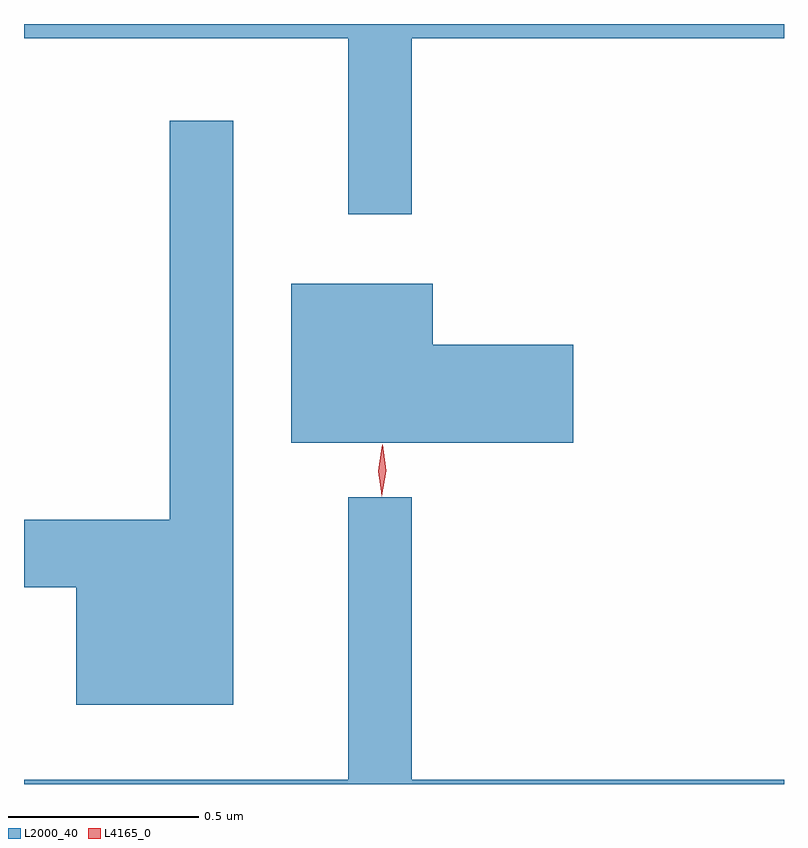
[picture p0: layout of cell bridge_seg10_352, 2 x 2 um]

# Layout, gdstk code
import gdstk
lib = gdstk.Library(unit=1e-6, precision=1e-09)
def P(c, l, *ps):  # polygons
    for p in ps: c.add(gdstk.Polygon(p, *l))
L2000_40 = (2000, 40)
L4165_0 = (4165, 0)

bridge_seg10_352 = lib.new_cell('bridge_seg10_352')
P(bridge_seg10_352, L2000_40, [(1330.249,2156.096),(1331.228,2156.096),(1331.228,2156.133),(1329.228,2156.133),(1329.228,2156.096),(1330.081,2156.096),(1330.081,2155.633),(1330.249,2155.633)],
  [(1329.779,2155.878),(1329.611,2155.878),(1329.611,2154.829),(1329.228,2154.829),(1329.228,2154.651),(1329.366,2154.651),(1329.366,2154.341),(1329.779,2154.341)],
  [(1330.674,2155.289),(1330.304,2155.289),(1330.304,2155.449),(1329.931,2155.449),(1329.931,2155.031),(1330.674,2155.031)],
  [(1331.228,2154.144),(1330.249,2154.144),(1330.249,2154.888),(1330.081,2154.888),(1330.081,2154.144),(1329.228,2154.144),(1329.228,2154.133),(1331.228,2154.133)])
P(bridge_seg10_352, L4165_0, [(1330.169,2154.89),(1330.161,2154.958),(1330.171,2155.026),(1330.171,2155.026),(1330.172,2155.026),(1330.181,2154.958),(1330.17,2154.89),(1330.17,2154.89)],
  [(1330.17,2154.893),(1330.169,2154.894),(1330.16,2154.956),(1330.169,2155.019),(1330.17,2155.02),(1330.17,2155.019),(1330.18,2154.956),(1330.17,2154.894)])

lib.write_gds('bridge_seg10_352.gds')
